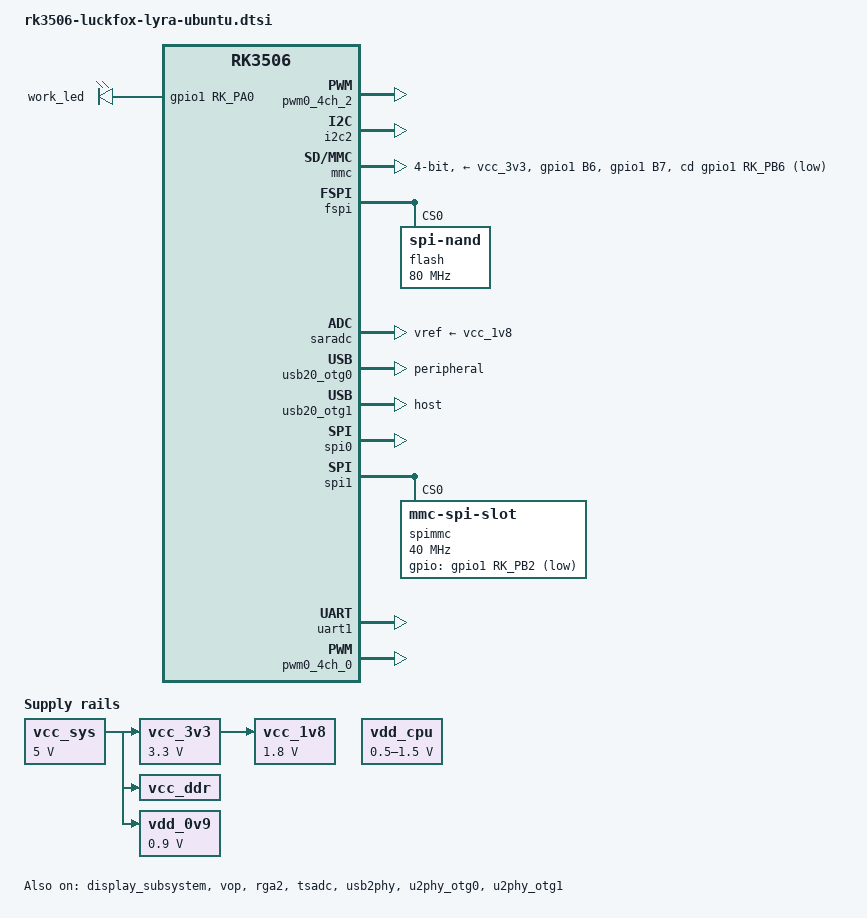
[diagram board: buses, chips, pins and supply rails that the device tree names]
// SPDX-License-Identifier: (GPL-2.0+ OR MIT)
/*
 * Copyright (c) 2024 Rockchip Electronics Co., Ltd.
 */

/dts-v1/;


#include <dt-bindings/pinctrl/rockchip.h>
#include <dt-bindings/display/drm_mipi_dsi.h>
#include <dt-bindings/display/rockchip_vop.h>
#include <dt-bindings/input/rk-input.h>
#include <dt-bindings/sensor-dev.h>
#include <dt-bindings/suspend/rockchip-rk3506.h>
#include "rk3506.dtsi"


/ {
	aliases {
		mmc0 = "/mmc@ff480000";
	};

	adc_keys: adc-keys {
		compatible = "adc-keys";
		io-channels = <&saradc 1>;
		io-channel-names = "buttons";
		keyup-threshold-microvolt = <1800000>;
		poll-interval = <100>;
	};

	fiq_debugger: fiq-debugger {
		compatible = "rockchip,fiq-debugger";
		rockchip,serial-id = <0>;
		rockchip,wake-irq = <0>;
		rockchip,irq-mode-enable = <1>;
		rockchip,baudrate = <115200>;	/* Only 115200 and 1500000 */
		interrupts = <GIC_SPI 115 IRQ_TYPE_LEVEL_HIGH>;
	};

	leds: leds {
		compatible = "gpio-leds";
		work_led: work-led {
			gpios = <&gpio1 RK_PA0 GPIO_ACTIVE_HIGH>;
			linux,default-trigger = "heartbeat";
		};
	};

	vcc_sys: vcc-sys {
		compatible = "regulator-fixed";
		regulator-name = "vcc_sys";
		regulator-always-on;
		regulator-boot-on;
		regulator-min-microvolt = <5000000>;
		regulator-max-microvolt = <5000000>;
	};

	vcc_3v3: vcc-3v3 {
		compatible = "regulator-fixed";
		regulator-name = "vcc_3v3";
		regulator-always-on;
		regulator-boot-on;
		regulator-min-microvolt = <3300000>;
		regulator-max-microvolt = <3300000>;
		vin-supply = <&vcc_sys>;
	};

	vcc_1v8: vcc-1v8 {
		compatible = "regulator-fixed";
		regulator-name = "vcc_1v8";
		regulator-always-on;
		regulator-boot-on;
		regulator-min-microvolt = <1800000>;
		regulator-max-microvolt = <1800000>;
		vin-supply = <&vcc_3v3>;
	};

	//1.8V
	vcc_ddr: vcc-ddr {
		compatible = "regulator-fixed";
		regulator-name = "vcc_ddr";
		regulator-always-on;
		regulator-boot-on;
		vin-supply = <&vcc_sys>;
	};

	vdd_0v9: vdd-0v9 {
		compatible = "regulator-fixed";
		regulator-name = "vdd_0v9";
		regulator-always-on;
		regulator-boot-on;
		regulator-min-microvolt = <900000>;
		regulator-max-microvolt = <900000>;
		vin-supply = <&vcc_sys>;
	};

	vdd_cpu: vdd-cpu {
		compatible = "regulator-fixed";
		regulator-name = "vdd_cpu";
		regulator-boot-on;
		regulator-always-on;
		regulator-min-microvolt = <500000>;
		regulator-max-microvolt = <1500000>;
		vin-supply = <&vdd_cpu>;
	};

	reserved_memory: reserved-memory {
		#address-cells = <1>;
		#size-cells = <1>;
		ranges;

		trust@0 {
			reg = <0x0 0x62000>;
		};

		cma: linux,cma {
			compatible = "shared-dma-pool";
			reusable;
			size = <0x0>;
			linux,cma-default;
		};

		drm_logo: drm-logo@0 {
			compatible = "rockchip,drm-logo";
			reg = <0x0 0x0>;
		};

		ramoops: ramoops@83000 {
			status = "disabled";
			compatible = "ramoops";
			reg = <0x83000 0x2d000>;
			boot-log-size = <0xd000>;	/* do not change */
			boot-log-count = <0x1>;		/* do not change */
			console-size = <0x20000>;
			pmsg-size = <0x0>;
			ftrace-size = <0x0>;
			record-size = <0x0>;
		};
	};
};

/**********cpu**********/
&cpu0 {
	cpu-supply = <&vdd_cpu>;
	status = "okay";
};

/**********display**********/
&cma {
	size = <0x2000000>;
};

&display_subsystem {
	logo-memory-region = <&drm_logo>;
	status = "okay";
};

&vop {
	status = "okay";
};

&rga2 {
	status = "okay";
};

&pwm0_4ch_2 {
	pinctrl-names = "active";
	pinctrl-0 = <&rm_io15_pwm0_ch2>;
	status = "okay";
};

/**********mcu**********/
&i2c2{
	status = "okay";
	pinctrl-names = "default";
	pinctrl-0 = <&rm_io10_i2c2_scl &rm_io11_i2c2_sda>;
	max-frequency = <400000>;

};

/**********media**********/
&mmc {
	/* For SDMMC */
	max-frequency = <52000000>;
	bus-width = <4>;
	no-sdio;
	no-mmc;
	cap-mmc-highspeed;
	cap-sd-highspeed;
	cd-gpios = <&gpio1 RK_PB6 GPIO_ACTIVE_LOW>; //det
	disable-wp;
	//sd-uhs-sdr104;
	pinctrl-names = "default";
	pinctrl-0 = <&sdmmc_clk_pins &sdmmc_cmd_pins &sdmmc_bus4_pins &sdmmc_det &sdmmc_pwren>;
	vqmmc-supply = <&vcc_3v3>;
	vmmc-supply = <&vcc_3v3>;
	status = "okay";
};



&fspi {
	status = "okay";

	flash@0 {
		compatible = "spi-nand";
		reg = <0>;
		spi-max-frequency = <80000000>;
		spi-rx-bus-width = <4>;
		spi-tx-bus-width = <1>;
	};
};

/**********adc**********/
&saradc {
	vref-supply = <&vcc_1v8>;
	status = "okay";
};

&tsadc {
	pinctrl-names = "gpio", "otpout";
	pinctrl-0 = <&wdt_tsadc_gpio>;
	pinctrl-1 = <&rm_io21_wdt_tsadc_shut>;

	status = "okay";
};

/**********usb**********/
&usb20_otg0 {
	dr_mode = "peripheral";
	/* vbus-supply = <&vcc5v0_otg0>;
	 *	rockchip,gpio-vbus-det; */
	status = "okay";
};

&usb20_otg1 {
	dr_mode = "host";
	status = "okay";
};

&usb2phy {
	/* extcon = <&extcon_usb>; */
	status = "okay";
};

&u2phy_otg0 {
	status = "okay";
};

&u2phy_otg1 {
	status = "okay";
};

&spi0 {
	status = "okay";
	pinctrl-names = "default";
	pinctrl-0 = <&rm_io7_spi0_clk &rm_io6_spi0_mosi &rm_io5_spi0_miso>;
	/*
	 * RK_PA7, RK_PA6, RK_PA5
	 *
	 *
	 *    spidev@0 {
	 *        compatible = "rockchip,spidev";
	 *        spi-max-frequency = <24000000>;
	 *        reg = <0>;
};
*/

};


&spi1 {
	status = "okay";
	pinctrl-names = "default";
	pinctrl-0 = <&rm_io29_spi1_clk &rm_io28_spi1_mosi &rm_io31_spi1_miso &rm_io30_spi1_csn0>;

	spimmc: spimmc@0 {
		status = "okay";
		pinctrl-names = "default";
		pinctrl-0 = <&spimmc_det>;
		compatible = "mmc-spi-slot";
		reg = <0x00>;
		gpios = <&gpio1 RK_PB2 GPIO_ACTIVE_LOW>; // Card Detect
		spi-max-frequency = <0x2625a00>;
		voltage-ranges = <0xce4 0xce4>;
	};
};

&uart1 {
	pinctrl-0 = <&rm_io30_uart1_tx &rm_io28_uart1_rx>;
	status = "okay";
};

&pwm0_4ch_0 {
	pinctrl-names = "active";
	pinctrl-0 = <&rm_io12_pwm0_ch0>;
	status = "okay";
	assigned-clocks = <&cru CLK_PWM0>;
	assigned-clock-rates = <100000000>;
};


/**********pinctrl**********/
&pinctrl {

	spimmc {
		spimmc_det: spimmc-det {
			rockchip,pins =
			<1 RK_PB2 RK_FUNC_GPIO &pcfg_pull_none>;
		};
	};

	sdmmc {
		/omit-if-no-ref/
		sdmmc_pwren: sdmmc-pwren {
			rockchip,pins = <1 RK_PB7 RK_FUNC_GPIO &pcfg_pull_down>;
		};

		sdmmc_det: sdmmc-det {
			rockchip,pins = <1 RK_PB6 RK_FUNC_GPIO &pcfg_pull_down>;
		};
	};

	tsadc {
		wdt_tsadc_gpio: wdt-tsadc-gpio {
			rockchip,pins = <0 RK_PC5 RK_FUNC_GPIO &pcfg_pull_none>;
		};
	};
};
